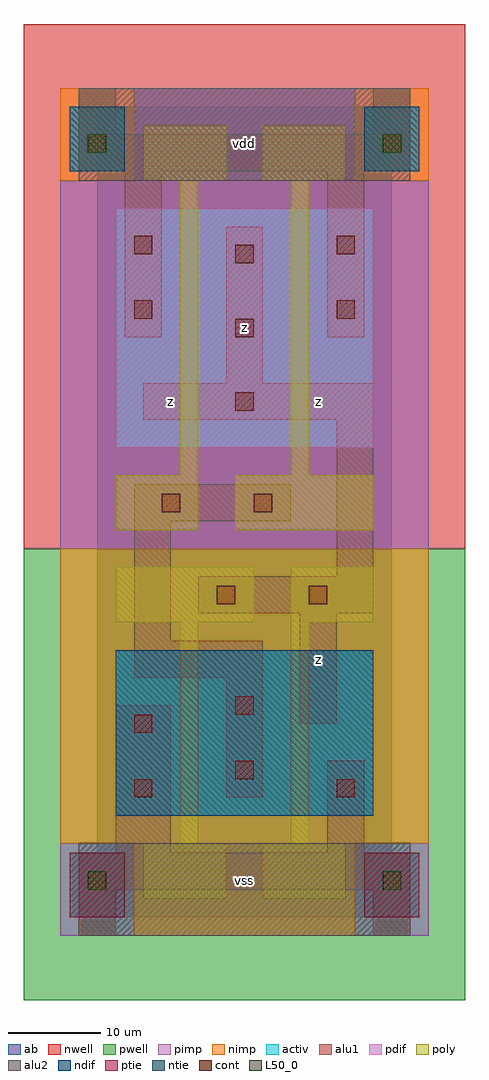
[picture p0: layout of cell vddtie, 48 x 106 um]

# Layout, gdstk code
import gdstk
lib = gdstk.Library(unit=1e-6, precision=1e-09)
def R(c, l, rs):  # rectangles x0, y0, x1, y1
    for r in rs: c.add(gdstk.rectangle(r[:2], r[2:], *l))
def A(c, l, x, y, w, h, nx, ny, dx, dy):  # array of equal rectangles
    R(c, l, [(x+i*dx, y+j*dy, x+i*dx+w, y+j*dy+h) for i in range(nx) for j in range(ny)])
ndif = (3, 0)
pdif = (4, 0)
ntie = (5, 0)
ptie = (6, 0)
cont = (25, 0)
pwell = (41, 0)
nwell = (42, 0)
activ = (43, 0)
pimp = (44, 0)
nimp = (45, 0)
poly = (46, 0)
alu1 = (49, 0)
L50_0 = (50, 0)
alu2 = (51, 0)
ab = (63, 0)

vddtie = lib.new_cell('vddtie')
R(vddtie, ndif, [(2,11,30,29)])
R(vddtie, pdif, [(2,51,30,77)])
R(vddtie, ntie, [(-3,81,3,88), (29,81,35,88)])
R(vddtie, ptie, [(-3,0,3,7), (29,0,35,7)])
A(vddtie, cont, 15, 55, 2, 2, 1, 3, 0, 8)
R(vddtie, cont, [(-1,3,1,5), (31,3,33,5), (4,13,6,15), (26,13,28,15), (15,15,17,17), (4,20,6,22), (15,22,17,24), (13,34,15,36), (23,34,25,36), (7,44,9,46), (17,44,19,46), (4,65,6,67), (26,65,28,67), (4,72,6,74), (26,72,28,74), (-1,83,1,85), (31,83,33,85)])
R(vddtie, pwell, [(-8,-9,40,40)])
R(vddtie, nwell, [(-8,40,40,97)])
R(vddtie, activ, [(-3,0,3,7), (29,0,35,7), (2,11,30,29), (2,51,30,77), (-3,81,3,88), (29,81,35,88)])
R(vddtie, pimp, [(-4,-2,4,8), (28,-2,36,8), (-4,40,36,80), (4,80,28,90)])
R(vddtie, nimp, [(4,-2,28,8), (-4,8,36,40), (-4,80,4,90), (28,80,36,90)])
R(vddtie, poly, [(5,2,14,8), (18,2,27,8), (9,8,11,32), (21,8,23,32), (2,32,17,38), (21,32,30,38), (2,42,11,48), (15,42,30,48), (9,48,11,80), (21,48,23,80), (5,80,14,86), (18,80,27,86)])
R(vddtie, alu1, [(-2,-2,2,3), (30,-2,34,3), (-2,3,34,7), (2,7,8,23), (25,7,29,17), (14,13,18,26), (22,21,26,33), (4,26,18,30), (4,30,8,43), (11,33,30,37), (26,37,30,54), (4,43,21,47), (5,54,30,58), (14,58,18,75), (3,63,7,81), (25,63,29,81), (-2,81,34,85), (-2,85,2,90), (30,85,34,90)])
R(vddtie, L50_0, [(-1,3,1,5), (31,3,33,5), (-1,83,1,85), (31,83,33,85)])
R(vddtie, alu2, [(-2,-2,34,8), (-2,80,34,90)])
R(vddtie, ab, [(0,0,32,88)])
vddtie.add(gdstk.Label('z', (8,56), layer=49, texttype=0))
vddtie.add(gdstk.Label('z', (16,64), layer=49, texttype=0))
vddtie.add(gdstk.Label('z', (24,28), layer=49, texttype=0))
vddtie.add(gdstk.Label('z', (24,56), layer=49, texttype=0))
vddtie.add(gdstk.Label('vss', (16,4), layer=51, texttype=0))
vddtie.add(gdstk.Label('vdd', (16,84), layer=51, texttype=0))

lib.write_gds('vddtie.gds')
